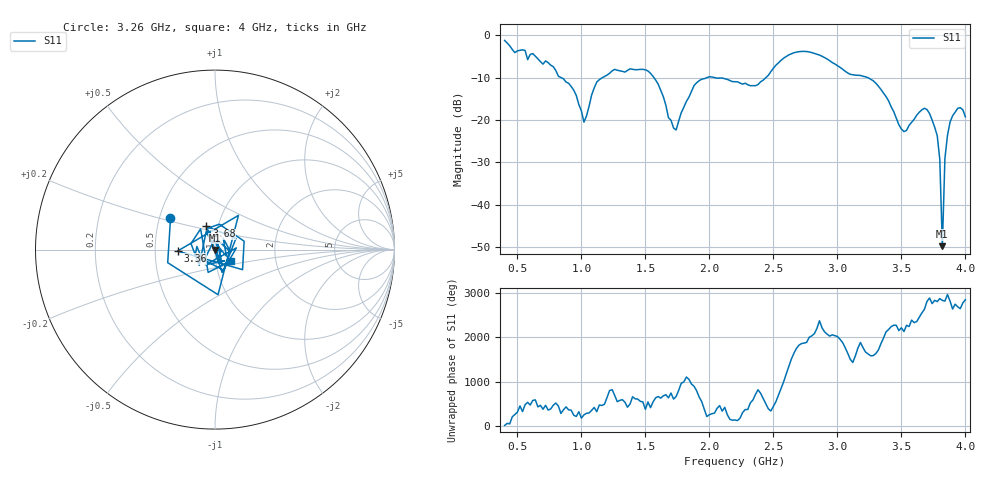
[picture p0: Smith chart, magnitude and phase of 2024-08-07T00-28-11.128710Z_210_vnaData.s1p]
!Created with skrf (http://scikit-rf.org).
# Hz S RI R 50.0
!freq ReS11 ImS11
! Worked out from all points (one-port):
!   181 points, 400 MHz to 4 GHz, reference 50 ohm
!   lowest |S11| = -49.8 dB at 3.82 GHz (marker M1), VSWR 1.01, Z = 50.2 - j0.254 ohm
!   |S11| at or under -10 dB: 1.568 GHz to 1.978 GHz (409.9 MHz wide, 23.1 % of centre); 2.048 GHz to 2.44 GHz (392 MHz wide, 17.5 % of centre); 3.241 GHz to end of sweep (the widest 3 of 4)
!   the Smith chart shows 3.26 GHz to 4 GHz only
!   S11 on the Smith chart (normalised r, x): 3.26 GHz: 0.57, +0.22; 3.36 GHz: 0.65, -0.01; 3.68 GHz: 0.88, +0.23; 4 GHz: 1.19, -0.15
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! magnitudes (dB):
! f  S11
! 400 MHz  -1.2
! 860 MHz  -10.2
! 960 MHz  -14.2
! 1.02 GHz  -20.5
! 1.12 GHz  -11.0
! 1.3 GHz  -8.3
! 1.52 GHz  -8.4
! 1.6 GHz  -11.5
! 1.72 GHz  -21.9
! 1.76 GHz  -20.2
! 1.92 GHz  -10.7
! 2.2 GHz  -10.9
! 2.38 GHz  -11.6
! 2.66 GHz  -4.1
! 2.86 GHz  -4.6
! 3.1 GHz  -9.2
! 3.26 GHz  -10.3
! 3.36 GHz  -13.6
! 3.5 GHz  -22.1
! 3.56 GHz  -21.2
! 3.68 GHz  -17.2
! 3.78 GHz  -23.7
! 3.8 GHz  -29.3
! 3.82 GHz  -49.8
! 3.84 GHz  -29.1
! 3.86 GHz  -23.6
! 3.94 GHz  -17.2
! 4 GHz  -19.2
